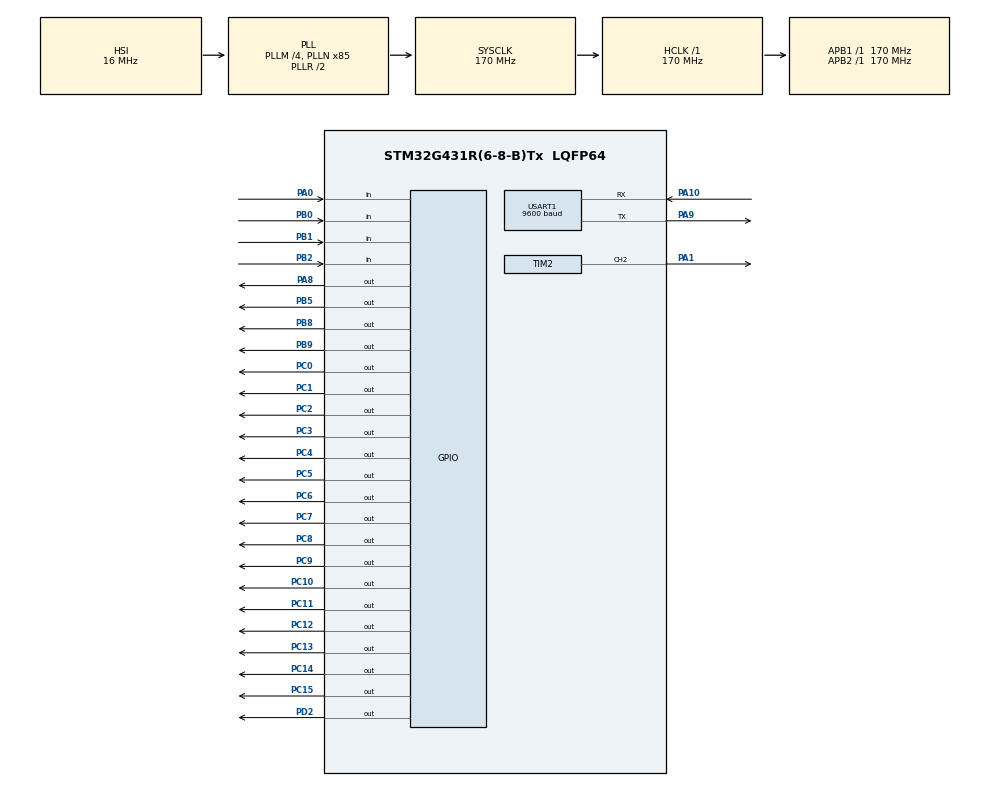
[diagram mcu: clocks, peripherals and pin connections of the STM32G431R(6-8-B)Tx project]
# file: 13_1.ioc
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Dma.Request0=USART1_RX
Dma.Request1=USART1_TX
Dma.USART1_RX.0.Direction=DMA_PERIPH_TO_MEMORY
Dma.USART1_RX.0.EventEnable=DISABLE
Dma.USART1_RX.0.Instance=DMA1_Channel1
Dma.USART1_RX.0.MemDataAlignment=DMA_MDATAALIGN_BYTE
Dma.USART1_RX.0.MemInc=DMA_MINC_ENABLE
Dma.USART1_RX.0.Mode=DMA_NORMAL
Dma.USART1_RX.0.PeriphDataAlignment=DMA_PDATAALIGN_BYTE
Dma.USART1_RX.0.PeriphInc=DMA_PINC_DISABLE
Dma.USART1_RX.0.Polarity=HAL_DMAMUX_REQ_GEN_RISING
Dma.USART1_RX.0.Priority=DMA_PRIORITY_LOW
Dma.USART1_RX.0.RequestNumber=1
Dma.USART1_RX.0.SignalID=NONE
Dma.USART1_RX.0.SyncEnable=DISABLE
Dma.USART1_RX.0.SyncPolarity=HAL_DMAMUX_SYNC_NO_EVENT
Dma.USART1_RX.0.SyncRequestNumber=1
Dma.USART1_RX.0.SyncSignalID=NONE
Dma.USART1_TX.1.Direction=DMA_MEMORY_TO_PERIPH
Dma.USART1_TX.1.EventEnable=DISABLE
Dma.USART1_TX.1.Instance=DMA1_Channel2
Dma.USART1_TX.1.MemDataAlignment=DMA_MDATAALIGN_BYTE
Dma.USART1_TX.1.MemInc=DMA_MINC_ENABLE
Dma.USART1_TX.1.Mode=DMA_NORMAL
Dma.USART1_TX.1.PeriphDataAlignment=DMA_PDATAALIGN_BYTE
Dma.USART1_TX.1.PeriphInc=DMA_PINC_DISABLE
Dma.USART1_TX.1.Polarity=HAL_DMAMUX_REQ_GEN_RISING
Dma.USART1_TX.1.Priority=DMA_PRIORITY_LOW
Dma.USART1_TX.1.RequestNumber=1
Dma.USART1_TX.1.SignalID=NONE
Dma.USART1_TX.1.SyncEnable=DISABLE
Dma.USART1_TX.1.SyncPolarity=HAL_DMAMUX_SYNC_NO_EVENT
Dma.USART1_TX.1.SyncRequestNumber=1
Dma.USART1_TX.1.SyncSignalID=NONE
Mcu.Family=STM32G4
Mcu.Name=STM32G431R(6-8-B)Tx
Mcu.Package=LQFP64
NVIC.DMA1_Channel1_IRQn=true\:0\:0\:false\:false\:true\:false\:true\:true
NVIC.DMA1_Channel2_IRQn=true\:0\:0\:false\:false\:true\:false\:true\:true
NVIC.PriorityGroup=NVIC_PRIORITYGROUP_4
NVIC.TIM2_IRQn=true\:0\:0\:false\:false\:true\:true\:true\:true
NVIC.TIM6_DAC_IRQn=true\:0\:0\:false\:false\:true\:true\:true\:true
NVIC.USART1_IRQn=true\:0\:0\:false\:false\:true\:false\:true\:true
PA0.Signal=GPIO_Input
PA1.Signal=S_TIM2_CH2
PA10.Mode=Asynchronous
PA10.Signal=USART1_RX
PA13.Mode=Serial_Wire
PA13.Signal=SYS_JTMS-SWDIO
PA14.Mode=Serial_Wire
PA14.Signal=SYS_JTCK-SWCLK
PA8.Signal=GPIO_Output
PA9.Mode=Asynchronous
PA9.Signal=USART1_TX
PB0.Signal=GPIO_Input
PB1.Signal=GPIO_Input
PB2.Signal=GPIO_Input
PB5.Signal=GPIO_Output
PB8-BOOT0.Signal=GPIO_Output
PB9.Signal=GPIO_Output
PC0.GPIO_Speed=GPIO_SPEED_FREQ_HIGH
PC0.Signal=GPIO_Output
PC1.GPIO_Speed=GPIO_SPEED_FREQ_HIGH
PC1.Signal=GPIO_Output
PC10.GPIO_Speed=GPIO_SPEED_FREQ_HIGH
PC10.Signal=GPIO_Output
PC11.GPIO_Speed=GPIO_SPEED_FREQ_HIGH
PC11.Signal=GPIO_Output
PC12.GPIO_Speed=GPIO_SPEED_FREQ_HIGH
PC12.Signal=GPIO_Output
PC13.Signal=GPIO_Output
PC14-OSC32_IN.Signal=GPIO_Output
PC15-OSC32_OUT.Signal=GPIO_Output
PC2.GPIO_Speed=GPIO_SPEED_FREQ_HIGH
PC2.Signal=GPIO_Output
PC3.GPIO_Speed=GPIO_SPEED_FREQ_HIGH
PC3.Signal=GPIO_Output
PC4.GPIO_Speed=GPIO_SPEED_FREQ_HIGH
PC4.Signal=GPIO_Output
PC5.GPIO_Speed=GPIO_SPEED_FREQ_HIGH
PC5.Signal=GPIO_Output
PC6.GPIO_Speed=GPIO_SPEED_FREQ_HIGH
PC6.Signal=GPIO_Output
PC7.GPIO_Speed=GPIO_SPEED_FREQ_HIGH
PC7.Signal=GPIO_Output
PC8.GPIO_Speed=GPIO_SPEED_FREQ_HIGH
PC8.Signal=GPIO_Output
PC9.GPIO_Speed=GPIO_SPEED_FREQ_HIGH
PC9.Signal=GPIO_Output
PD2.Signal=GPIO_Output
PF0-OSC_IN.Mode=HSE-External-Oscillator
PF0-OSC_IN.Signal=RCC_OSC_IN
PF1-OSC_OUT.Mode=HSE-External-Oscillator
PF1-OSC_OUT.Signal=RCC_OSC_OUT
ProjectManager.HeapSize=0x2000
ProjectManager.StackSize=0x4000
ProjectManager.TargetToolchain=MDK-ARM V5.32
RCC.ADC12Freq_Value=170000000
RCC.AHBFreq_Value=170000000
RCC.APB1Freq_Value=170000000
RCC.APB1TimFreq_Value=170000000
RCC.APB2Freq_Value=170000000
RCC.APB2TimFreq_Value=170000000
RCC.CortexFreq_Value=170000000
RCC.EXTERNAL_CLOCK_VALUE=12288000
RCC.HCLKFreq_Value=170000000
RCC.HSE_VALUE=24000000
RCC.HSI48_VALUE=48000000
RCC.HSI_VALUE=16000000
RCC.LSE_VALUE=32768
RCC.PLLM=RCC_PLLM_DIV4
RCC.PLLN=85
RCC.SYSCLKFreq_VALUE=170000000
RCC.SYSCLKSource=RCC_SYSCLKSOURCE_PLLCLK
RCC.USBFreq_Value=170000000
RCC.VCOOutputFreq_Value=340000000
SH.S_TIM2_CH2.0=TIM2_CH2,PWM Generation2 CH2
TIM2.Channel-PWM\ Generation2\ CH2=TIM_CHANNEL_2
TIM2.PeriodNoDither=170-1
TIM2.Prescaler=1000-1
TIM6.PeriodNoDither=1000-1
TIM6.Prescaler=170-1
USART1.BaudRate=9600
USART1.DMADisableonRxErrorParam=ADVFEATURE_DMA_DISABLEONRXERROR
USART1.OverrunDisableParam=ADVFEATURE_OVERRUN_DISABLE
USART1.VirtualMode-Asynchronous=VM_ASYNC
VP_SYS_VS_DBSignals.Mode=DisableDeadBatterySignals
VP_TIM2_VS_ClockSourceINT.Mode=Internal
VP_TIM6_VS_ClockSourceINT.Mode=Enable_Timer
board=custom

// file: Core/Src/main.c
/* USER CODE BEGIN Header */
/**
  ******************************************************************************
  * @file           : main.c
  * @brief          : Main program body
  ******************************************************************************
  * @attention
  *
  * Copyright (c) 2025 STMicroelectronics.
  * All rights reserved.
  *
  * This software is licensed under terms that can be found in the LICENSE file
  * in the root directory of this software component.
  * If no LICENSE file comes with this software, it is provided AS-IS.
  *
  ******************************************************************************
  */
/* USER CODE END Header */
#include "main.h"
#include "dma.h"
#include "tim.h"
#include "usart.h"
#include "gpio.h"

/* USER CODE BEGIN Includes */
#include "Global_Type.h"
#include "Task.h"
#include "Led.h"
#include "lcd.h"
#include "Interface.h"
#include "Usart_Idle.h"
/* USER CODE END Includes */

void SystemClock_Config(void);

/* USER CODE BEGIN 0 */
void System_Init()
{
	Usart_Idle_Init();
	LCD_Init();
	Interface_Init();
	Reset_All_Led();
	HAL_TIM_PWM_Start(&htim2, TIM_CHANNEL_2);
}
/* USER CODE END 0 */

int main(void)
{

  /* MCU Configuration--------------------------------------------------------*/

  /* Reset of all peripherals, Initializes the Flash interface and the Systick. */
  HAL_Init();

  /* Configure the system clock */
  SystemClock_Config();

  /* Initialize all configured peripherals */
  MX_GPIO_Init();
  MX_DMA_Init();
  MX_USART1_UART_Init();
  MX_TIM2_Init();
  MX_TIM6_Init();
  /* USER CODE BEGIN 2 */
	System_Init();
  /* USER CODE END 2 */

  /* Infinite loop */
  /* USER CODE BEGIN WHILE */
  while (1)
  {
	  Task_Loop();
    /* USER CODE END WHILE */

  }
}

void SystemClock_Config(void)
{
  RCC_OscInitTypeDef RCC_OscInitStruct = {0};
  RCC_ClkInitTypeDef RCC_ClkInitStruct = {0};

  /** Configure the main internal regulator output voltage
  */
  HAL_PWREx_ControlVoltageScaling(PWR_REGULATOR_VOLTAGE_SCALE1_BOOST);

  /** Initializes the RCC Oscillators according to the specified parameters
  * in the RCC_OscInitTypeDef structure.
  */
  RCC_OscInitStruct.OscillatorType = RCC_OSCILLATORTYPE_HSI;
  RCC_OscInitStruct.HSIState = RCC_HSI_ON;
  RCC_OscInitStruct.HSICalibrationValue = RCC_HSICALIBRATION_DEFAULT;
  RCC_OscInitStruct.PLL.PLLState = RCC_PLL_ON;
  RCC_OscInitStruct.PLL.PLLSource = RCC_PLLSOURCE_HSI;
  RCC_OscInitStruct.PLL.PLLM = RCC_PLLM_DIV4;
  RCC_OscInitStruct.PLL.PLLN = 85;
  RCC_OscInitStruct.PLL.PLLP = RCC_PLLP_DIV2;
  RCC_OscInitStruct.PLL.PLLQ = RCC_PLLQ_DIV2;
  RCC_OscInitStruct.PLL.PLLR = RCC_PLLR_DIV2;
  if (HAL_RCC_OscConfig(&RCC_OscInitStruct) != HAL_OK)
  {
    Error_Handler();
  }

  /** Initializes the CPU, AHB and APB buses clocks
  */
  RCC_ClkInitStruct.ClockType = RCC_CLOCKTYPE_HCLK|RCC_CLOCKTYPE_SYSCLK
                              |RCC_CLOCKTYPE_PCLK1|RCC_CLOCKTYPE_PCLK2;
  RCC_ClkInitStruct.SYSCLKSource = RCC_SYSCLKSOURCE_PLLCLK;
  RCC_ClkInitStruct.AHBCLKDivider = RCC_SYSCLK_DIV1;
  RCC_ClkInitStruct.APB1CLKDivider = RCC_HCLK_DIV1;
  RCC_ClkInitStruct.APB2CLKDivider = RCC_HCLK_DIV1;

  if (HAL_RCC_ClockConfig(&RCC_ClkInitStruct, FLASH_LATENCY_4) != HAL_OK)
  {
    Error_Handler();
  }
}

/* USER CODE BEGIN 4 */
void Task_Count()
{
	SettingManager.timerCount._1000Hz++;
	SettingManager.timerCount._500Hz++;
	SettingManager.timerCount._200Hz++;
	SettingManager.timerCount._100Hz++;
	SettingManager.timerCount._10Hz++;
	SettingManager.timerCount._1Hz++;
	SettingManager.timerCount._0_2Hz++;
}

void HAL_TIM_PeriodElapsedCallback(TIM_HandleTypeDef *htim)
{
	if(htim == &htim6){
		Task_Count();
	}
}

/* USER CODE END 4 */

void Error_Handler(void)
{
  __disable_irq();
  while (1)
  {
  }
}
